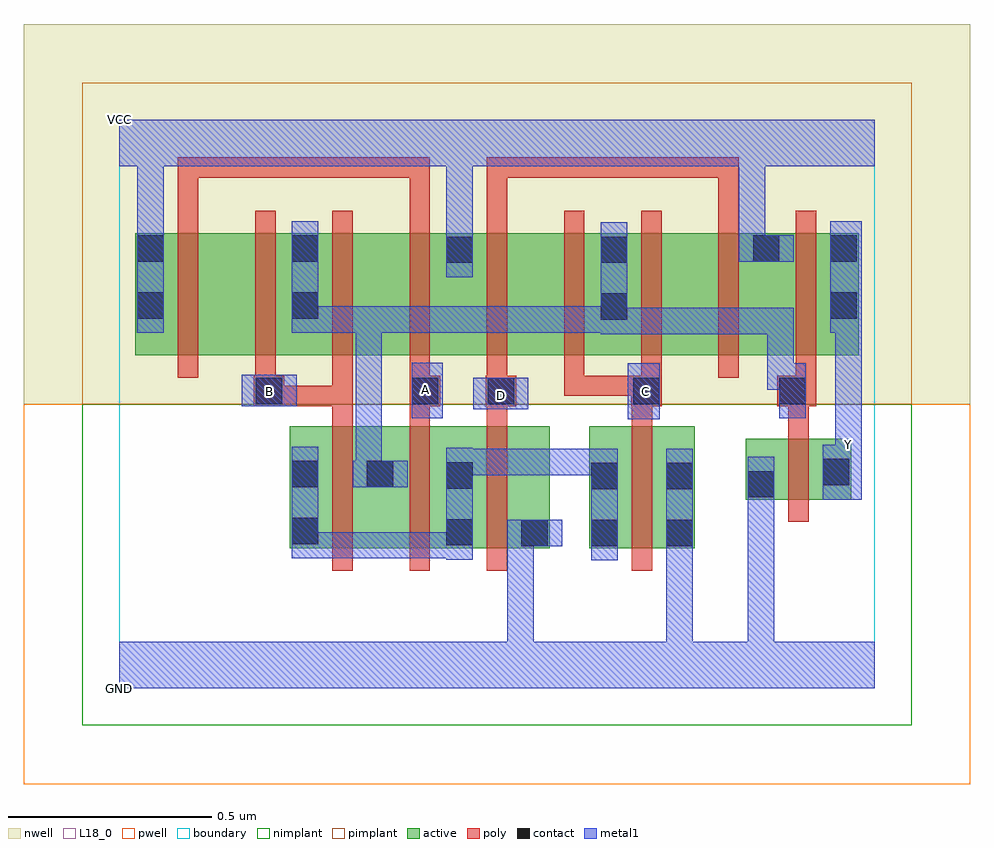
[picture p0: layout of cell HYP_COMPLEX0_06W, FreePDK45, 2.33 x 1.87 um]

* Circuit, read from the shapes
.subckt HYP_COMPLEX0_06W A B C D GND VCC Y
M1 n1 B n2 VSUBS nfet w=0.3u l=0.05u
M2 n2 A n1 VSUBS nfet w=0.3u l=0.05u
M3 GND D n2 VSUBS nfet w=0.3u l=0.05u
M4 GND C n2 VSUBS nfet w=0.3u l=0.05u
M5 Y n1 GND VSUBS nfet w=0.15u l=0.05u
M6 n3 A VCC n4 pfet w=0.3u l=0.05u
M7 n1 B n3 n4 pfet w=0.3u l=0.05u
M8 n5 B n1 n4 pfet w=0.3u l=0.05u
M9 VCC A n5 n4 pfet w=0.3u l=0.05u
M10 n6 D VCC n4 pfet w=0.3u l=0.05u
M11 n1 C n6 n4 pfet w=0.3u l=0.05u
M12 n7 C n1 n4 pfet w=0.3u l=0.05u
M13 VCC D n7 n4 pfet w=0.3u l=0.05u
M14 Y n1 VCC n4 pfet w=0.3u l=0.05u
.ends

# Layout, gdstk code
import gdstk
lib = gdstk.Library(unit=1e-6, precision=1e-09)
def R(c, l, rs):  # rectangles x0, y0, x1, y1
    for r in rs: c.add(gdstk.rectangle(r[:2], r[2:], *l))
def A(c, l, x, y, w, h, nx, ny, dx, dy):  # array of equal rectangles
    R(c, l, [(x+i*dx, y+j*dy, x+i*dx+w, y+j*dy+h) for i in range(nx) for j in range(ny)])
active = (1, 0)
pwell = (2, 0)
nwell = (3, 0)
nimplant = (4, 0)
pimplant = (5, 0)
poly = (9, 0)
contact = (10, 0)
metal1 = (11, 0)
L18_0 = (18, 0)
boundary = (235, 0)

hyp_complex0_06w = lib.new_cell('HYP_COMPLEX0_06W')
A(hyp_complex0_06w, active, 0.04, 0.82, 0.075, 0.3, 4, 1, 0.38, 0)
A(hyp_complex0_06w, active, 0.04, 0.82, 0.225, 0.3, 4, 1, 0.38, 0)
A(hyp_complex0_06w, active, 0.265, 0.82, 0.23, 0.3, 3, 1, 0.38, 0)
R(hyp_complex0_06w, active, [(0.42,0.345,0.495,0.645), (0.42,0.345,0.68,0.645), (0.605,0.345,0.875,0.645), (0.605,0.345,0.68,0.565), (0.8,0.345,0.875,0.645), (0.8,0.345,1.06,0.645), (0.985,0.345,1.06,0.645), (1.157,0.345,1.232,0.645), (1.157,0.345,1.417,0.645), (1.342,0.345,1.417,0.645), (1.542,0.465,1.802,0.615), (1.542,0.465,1.617,0.615), (1.727,0.495,1.802,0.615), (1.405,0.82,1.63,1.12), (1.555,0.82,1.63,1.12), (1.555,0.82,1.82,1.12), (1.745,0.82,1.82,1.12)])
R(hyp_complex0_06w, pwell, [(-0.235,-0.235,2.095,0.7)])
R(hyp_complex0_06w, nwell, [(-0.235,0.7,2.095,1.635)])
R(hyp_complex0_06w, nimplant, [(-0.09,-0.09,1.95,0.7)])
R(hyp_complex0_06w, pimplant, [(-0.09,0.7,1.95,1.49)])
A(hyp_complex0_06w, poly, 0.525, 0.29, 0.05, 0.41, 3, 1, 0.19, 0)
A(hyp_complex0_06w, poly, 0.525, 0.65, 0.05, 0.095, 3, 1, 0.19, 0)
A(hyp_complex0_06w, poly, 0.715, 0.72, 0.05, 0.095, 4, 1, 0.19, 0)
A(hyp_complex0_06w, poly, 0.145, 0.765, 0.05, 0.41, 9, 1, 0.19, 0)
R(hyp_complex0_06w, poly, [(1.262,0.29,1.312,0.7), (1.647,0.41,1.697,0.67), (1.647,0.62,1.697,0.745), (1.262,0.65,1.312,0.745), (0.332,0.695,0.407,0.77), (0.357,0.695,0.575,0.745), (0.525,0.695,0.575,0.745), (0.525,0.695,0.575,0.745), (0.525,0.695,0.575,0.745), (0.525,0.695,0.575,0.815), (0.715,0.695,0.79,0.77), (0.902,0.695,0.977,0.77), (1.26,0.695,1.335,0.77), (1.62,0.695,1.715,0.77), (0.335,0.72,0.385,0.815), (1.095,0.72,1.145,0.77), (1.095,0.72,1.145,0.77), (1.095,0.72,1.145,0.77), (1.095,0.72,1.31,0.77), (1.665,0.72,1.715,0.815), (0.145,1.125,0.195,1.307), (0.715,1.125,0.765,1.307), (0.905,1.125,0.955,1.307), (1.475,1.125,1.525,1.307), (0.145,1.257,0.195,1.307), (0.145,1.257,0.41,1.307), (0.36,1.257,0.41,1.307), (0.36,1.257,0.41,1.307), (0.36,1.257,0.41,1.307), (0.36,1.257,0.542,1.307), (0.492,1.257,0.542,1.307), (0.492,1.257,0.542,1.307), (0.492,1.257,0.542,1.307), (0.492,1.257,0.765,1.307), (0.715,1.257,0.765,1.307), (0.715,1.257,0.765,1.307), (0.715,1.257,0.765,1.307), (0.905,1.257,0.955,1.307), (0.905,1.257,0.955,1.307), (0.905,1.257,0.955,1.307), (0.905,1.257,1.177,1.307), (1.127,1.257,1.177,1.307), (1.127,1.257,1.177,1.307), (1.127,1.257,1.177,1.307), (1.127,1.257,1.392,1.307), (1.342,1.257,1.525,1.307), (1.342,1.257,1.392,1.307), (1.342,1.257,1.392,1.307), (1.342,1.257,1.392,1.307), (1.475,1.257,1.525,1.307)])
R(hyp_complex0_06w, contact, [(0.99,0.35,1.055,0.415), (1.162,0.35,1.227,0.415), (1.347,0.35,1.412,0.415), (0.805,0.352,0.87,0.417), (0.425,0.355,0.49,0.42), (1.547,0.47,1.612,0.535), (1.162,0.49,1.227,0.555), (1.347,0.49,1.412,0.555), (0.805,0.492,0.87,0.557), (0.425,0.495,0.49,0.56), (0.61,0.495,0.675,0.56), (1.732,0.5,1.797,0.565), (0.337,0.7,0.402,0.765), (0.72,0.7,0.785,0.765), (0.907,0.7,0.972,0.765), (1.265,0.7,1.33,0.765), (1.625,0.7,1.69,0.765), (1.185,0.907,1.25,0.972), (0.045,0.91,0.11,0.975), (0.425,0.91,0.49,0.975), (1.75,0.91,1.815,0.975), (0.805,1.047,0.87,1.112), (1.185,1.047,1.25,1.112), (0.045,1.05,0.11,1.115), (0.425,1.05,0.49,1.115), (1.56,1.05,1.625,1.115), (1.75,1.05,1.815,1.115)])
R(hyp_complex0_06w, metal1, [(0,0,1.86,0.115), (0.955,0.05,1.02,0.415), (1.347,0.05,1.412,0.38), (1.547,0.05,1.612,0.5), (1.162,0.315,1.227,0.59), (1.347,0.315,1.412,0.38), (1.347,0.315,1.412,0.38), (1.347,0.315,1.412,0.38), (1.347,0.315,1.412,0.38), (1.347,0.315,1.412,0.59), (0.805,0.317,0.87,0.592), (0.425,0.32,0.49,0.385), (0.425,0.32,0.49,0.385), (0.425,0.32,0.627,0.385), (0.425,0.32,0.49,0.595), (0.562,0.32,0.627,0.385), (0.562,0.32,0.627,0.385), (0.562,0.32,0.627,0.385), (0.562,0.32,0.87,0.385), (0.955,0.35,1.02,0.415), (0.955,0.35,1.02,0.415), (0.955,0.35,1.02,0.415), (0.955,0.35,1.02,0.415), (0.955,0.35,1.09,0.415), (1.547,0.435,1.612,0.5), (1.547,0.435,1.612,0.5), (1.547,0.435,1.612,0.57), (1.547,0.435,1.612,0.53), (1.547,0.435,1.612,0.53), (1.547,0.465,1.612,0.53), (1.547,0.465,1.612,0.53), (1.732,0.465,1.827,0.6), (0.575,0.495,0.71,0.56), (0.582,0.495,0.647,0.56), (0.582,0.495,0.647,0.56), (0.582,0.495,0.647,0.94), (0.805,0.525,0.87,0.59), (0.805,0.525,0.895,0.59), (0.805,0.525,0.87,0.592), (0.83,0.525,0.895,0.59), (0.83,0.525,1.032,0.59), (0.967,0.525,1.032,0.59), (0.967,0.525,1.032,0.59), (0.967,0.525,1.032,0.59), (0.967,0.525,1.227,0.59), (1.762,0.532,1.827,0.667), (1.762,0.535,1.827,0.6), (1.762,0.602,1.827,0.94), (1.252,0.662,1.33,0.8), (0.72,0.665,0.797,0.802), (1.625,0.665,1.69,0.8), (0.872,0.687,1.007,0.765), (0.302,0.695,0.437,0.772), (1.595,0.735,1.66,0.8), (1.595,0.735,1.69,0.8), (1.595,0.735,1.66,0.937), (1.185,0.872,1.25,0.937), (1.185,0.872,1.25,0.937), (1.185,0.872,1.387,0.937), (1.185,0.872,1.25,1.147), (1.322,0.872,1.387,0.937), (1.322,0.872,1.387,0.937), (1.322,0.872,1.387,0.937), (1.322,0.872,1.66,0.937), (1.595,0.872,1.66,0.937), (0.045,0.875,0.11,1.15), (0.425,0.875,0.49,0.94), (0.425,0.875,0.49,0.94), (0.425,0.875,0.49,1.15), (0.425,0.875,0.647,0.94), (0.582,0.875,0.647,0.94), (0.582,0.875,0.647,0.94), (0.582,0.875,0.647,0.94), (0.582,0.875,0.785,0.94), (0.72,0.875,0.785,0.94), (0.72,0.875,0.847,0.94), (0.782,0.875,0.847,0.94), (0.782,0.875,1.032,0.94), (0.967,0.875,1.032,0.94), (0.967,0.875,1.032,0.94), (0.967,0.875,1.032,0.94), (0.967,0.875,1.25,0.94), (1.75,0.875,1.827,1.15), (0.805,1.012,0.87,1.147), (1.525,1.05,1.59,1.35), (1.525,1.05,1.66,1.115), (0.805,1.082,0.87,1.147), (0.805,1.082,0.87,1.147), (0.805,1.082,0.87,1.35), (0.045,1.085,0.11,1.35), (0,1.285,1.86,1.4), (0.045,1.285,0.11,1.35), (0.045,1.285,0.11,1.35), (1.525,1.285,1.59,1.35), (1.525,1.285,1.59,1.35)])
R(hyp_complex0_06w, L18_0, [(0,0,1.86,0.115), (0.955,0.05,1.02,0.415), (1.347,0.05,1.412,0.38), (1.547,0.05,1.612,0.5), (1.347,0.315,1.412,0.59), (1.347,0.315,1.412,0.38), (1.347,0.315,1.412,0.38), (1.347,0.315,1.412,0.38), (1.347,0.315,1.412,0.38), (0.955,0.35,1.02,0.415), (0.955,0.35,1.02,0.415), (0.955,0.35,1.02,0.415), (0.955,0.35,1.02,0.415), (0.955,0.35,1.09,0.415), (1.547,0.435,1.612,0.5), (1.547,0.435,1.612,0.5), (1.547,0.435,1.612,0.57), (1.547,0.435,1.612,0.53), (1.547,0.435,1.612,0.53), (1.547,0.465,1.612,0.53), (1.547,0.465,1.612,0.53), (1.732,0.465,1.827,0.6), (1.762,0.532,1.827,0.667), (1.762,0.535,1.827,0.6), (1.762,0.567,1.827,0.632), (1.762,0.602,1.827,0.94), (1.252,0.662,1.33,0.8), (0.72,0.665,0.797,0.802), (0.872,0.687,1.007,0.765), (0.907,0.687,0.972,0.752), (0.302,0.695,0.437,0.772), (0.337,0.697,0.402,0.762), (1.262,0.697,1.327,0.762), (0.722,0.702,0.787,0.767), (0.045,0.875,0.11,1.15), (1.75,0.875,1.827,1.15), (0.805,1.012,0.87,1.147), (1.525,1.05,1.66,1.115), (1.525,1.05,1.59,1.35), (0.805,1.082,0.87,1.147), (0.805,1.082,0.87,1.147), (0.805,1.082,0.87,1.35), (0.045,1.085,0.11,1.35), (0,1.285,1.86,1.4), (0.045,1.285,0.11,1.35), (0.045,1.285,0.11,1.35), (1.525,1.285,1.59,1.35), (1.525,1.285,1.59,1.35)])
R(hyp_complex0_06w, boundary, [(0,0,1.86,1.4)])
hyp_complex0_06w.add(gdstk.Label('A', (0.755,0.735), layer=11, texttype=0))
hyp_complex0_06w.add(gdstk.Label('B', (0.37,0.73), layer=11, texttype=0))
hyp_complex0_06w.add(gdstk.Label('C', (1.295,0.73), layer=11, texttype=0))
hyp_complex0_06w.add(gdstk.Label('D', (0.94,0.72), layer=11, texttype=0))
hyp_complex0_06w.add(gdstk.Label('Y', (1.795,0.6), layer=11, texttype=0))
hyp_complex0_06w.add(gdstk.Label('VCC', (0,1.4), layer=11, texttype=0))
hyp_complex0_06w.add(gdstk.Label('GND', (0,0), layer=11, texttype=0))

lib.write_gds('HYP_COMPLEX0_06W.gds')
